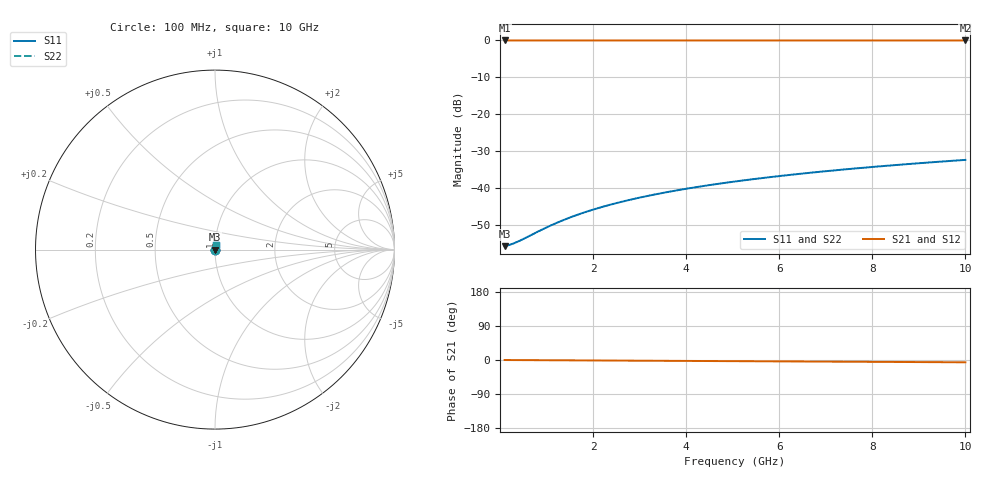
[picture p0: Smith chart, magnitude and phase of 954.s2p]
# Hz S RI R 50.00
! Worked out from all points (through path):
!   100 points, 100 MHz to 10 GHz, reference 50 ohm
!   highest |S21| = -0.01 dB at 100 MHz (marker M1); lowest = 0.0 dB at 10 GHz (marker M2)
!   lowest |S11| = -55.8 dB at 100 MHz (marker M3), VSWR 1.00, Z = 50.2 + j0.0239 ohm
!   |S11| at or under -10 dB: start of sweep to end of sweep
!   |S22| runs from -55.8 to -32.4 dB; largest |S21 - S12| = 0
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1e8  0.00161 0.000238  0.9984 -0.00106  0.9984 -0.00106  0.00161 0.000238
2e8  0.00162 0.000477  0.9984 -0.00212  0.9984 -0.00212  0.00162 0.000477
3e8  0.00163 0.000715  0.9984 -0.00317  0.9984 -0.00317  0.00163 0.000715
4e8  0.00164 0.000954  0.9984 -0.00423  0.9984 -0.00423  0.00164 0.000954
9e8  0.00167 0.00215  0.9983 -0.00952  0.9983 -0.00952  0.00167 0.00215
1.2e9  0.0017 0.00286  0.9982 -0.0127  0.9982 -0.0127  0.0017 0.00286
1.5e9  0.00173 0.00358  0.9982 -0.0159  0.9982 -0.0159  0.00173 0.00358
1.8e9  0.00176 0.00429  0.9981 -0.019  0.9981 -0.019  0.00176 0.00429
2.1e9  0.00179 0.005  0.998 -0.0222  0.998 -0.0222  0.00179 0.005
2.5e9  0.00185 0.00596  0.9979 -0.0265  0.9979 -0.0265  0.00185 0.00596
2.9e9  0.00191 0.00691  0.9978 -0.0307  0.9978 -0.0307  0.00191 0.00691
3.4e9  0.002 0.0081  0.9976 -0.036  0.9976 -0.036  0.002 0.0081
3.8e9  0.00207 0.00905  0.9974 -0.0402  0.9974 -0.0402  0.00207 0.00905
4.2e9  0.00216 0.01  0.9972 -0.0444  0.9972 -0.0444  0.00216 0.01
4.6e9  0.00226 0.0109  0.997 -0.0487  0.997 -0.0487  0.00226 0.0109
5.1e9  0.00238 0.0121  0.9967 -0.0539  0.9967 -0.0539  0.00238 0.0121
5.9e9  0.00262 0.014  0.9962 -0.0624  0.9962 -0.0624  0.00262 0.014
6.7e9  0.00288 0.0159  0.9956 -0.0709  0.9956 -0.0709  0.00288 0.0159
7.5e9  0.00318 0.0178  0.9949 -0.0793  0.9949 -0.0793  0.00318 0.0178
8.4e9  0.00355 0.0199  0.994 -0.0888  0.994 -0.0888  0.00355 0.0199
9.2e9  0.00391 0.0218  0.9932 -0.0973  0.9932 -0.0973  0.00391 0.0218
1e10  0.00431 0.0236  0.9922 -0.1057  0.9922 -0.1057  0.00431 0.0236
